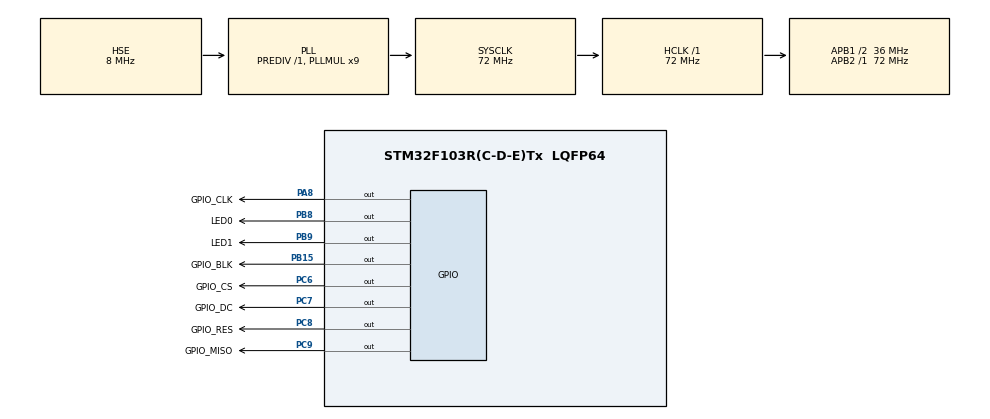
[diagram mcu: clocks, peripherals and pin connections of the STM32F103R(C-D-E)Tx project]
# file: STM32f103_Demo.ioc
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FREERTOS.Tasks01=startTask,24,128,StartDefaultTask,Default,NULL,Dynamic,NULL,NULL
FREERTOS.configUSE_TICK_HOOK=0
Mcu.Family=STM32F1
Mcu.Name=STM32F103R(C-D-E)Tx
Mcu.Package=LQFP64
NVIC.PriorityGroup=NVIC_PRIORITYGROUP_4
PA13.Mode=Serial_Wire
PA13.Signal=SYS_JTMS-SWDIO
PA14.Mode=Serial_Wire
PA14.Signal=SYS_JTCK-SWCLK
PA8.GPIO_Label=GPIO_CLK
PA8.GPIO_PuPd=GPIO_PULLUP
PA8.GPIO_Speed=GPIO_SPEED_FREQ_HIGH
PA8.PinState=GPIO_PIN_SET
PA8.Signal=GPIO_Output
PB15.GPIO_Label=GPIO_BLK
PB15.GPIO_PuPd=GPIO_PULLUP
PB15.GPIO_Speed=GPIO_SPEED_FREQ_HIGH
PB15.PinState=GPIO_PIN_SET
PB15.Signal=GPIO_Output
PB8.GPIO_Label=LED0
PB8.GPIO_PuPd=GPIO_PULLUP
PB8.GPIO_Speed=GPIO_SPEED_FREQ_HIGH
PB8.PinState=GPIO_PIN_SET
PB8.Signal=GPIO_Output
PB9.GPIO_Label=LED1
PB9.GPIO_PuPd=GPIO_PULLUP
PB9.GPIO_Speed=GPIO_SPEED_FREQ_HIGH
PB9.PinState=GPIO_PIN_SET
PB9.Signal=GPIO_Output
PC6.GPIO_Label=GPIO_CS
PC6.GPIO_PuPd=GPIO_PULLUP
PC6.GPIO_Speed=GPIO_SPEED_FREQ_HIGH
PC6.PinState=GPIO_PIN_SET
PC6.Signal=GPIO_Output
PC7.GPIO_Label=GPIO_DC
PC7.GPIO_PuPd=GPIO_PULLUP
PC7.GPIO_Speed=GPIO_SPEED_FREQ_HIGH
PC7.PinState=GPIO_PIN_SET
PC7.Signal=GPIO_Output
PC8.GPIO_Label=GPIO_RES
PC8.GPIO_PuPd=GPIO_PULLUP
PC8.GPIO_Speed=GPIO_SPEED_FREQ_HIGH
PC8.PinState=GPIO_PIN_SET
PC8.Signal=GPIO_Output
PC9.GPIO_Label=GPIO_MISO
PC9.GPIO_PuPd=GPIO_PULLUP
PC9.GPIO_Speed=GPIO_SPEED_FREQ_HIGH
PC9.PinState=GPIO_PIN_SET
PC9.Signal=GPIO_Output
PD0-OSC_IN.Mode=HSE-External-Oscillator
PD0-OSC_IN.Signal=RCC_OSC_IN
PD1-OSC_OUT.Mode=HSE-External-Oscillator
PD1-OSC_OUT.Signal=RCC_OSC_OUT
ProjectManager.HeapSize=0x1000
ProjectManager.StackSize=0x1000
ProjectManager.TargetToolchain=STM32CubeIDE
RCC.AHBFreq_Value=72000000
RCC.APB1CLKDivider=RCC_HCLK_DIV2
RCC.APB1Freq_Value=36000000
RCC.APB1TimFreq_Value=72000000
RCC.APB2Freq_Value=72000000
RCC.APB2TimFreq_Value=72000000
RCC.HCLKFreq_Value=72000000
RCC.PLLMUL=RCC_PLL_MUL9
RCC.PLLSourceVirtual=RCC_PLLSOURCE_HSE
RCC.SYSCLKFreq_VALUE=72000000
RCC.SYSCLKSource=RCC_SYSCLKSOURCE_PLLCLK
RCC.USBFreq_Value=72000000
VP_FREERTOS_VS_CMSIS_V2.Mode=CMSIS_V2
board=custom

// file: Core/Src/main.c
/* USER CODE BEGIN Header */
/**
  ******************************************************************************
  * @file           : main.c
  * @brief          : Main program body
  ******************************************************************************
  * @attention
  *
  * Copyright (c) 2022 STMicroelectronics.
  * All rights reserved.
  *
  * This software is licensed under terms that can be found in the LICENSE file
  * in the root directory of this software component.
  * If no LICENSE file comes with this software, it is provided AS-IS.
  *
  ******************************************************************************
  */
/* USER CODE END Header */
#include "main.h"
#include "cmsis_os.h"

/* USER CODE BEGIN Includes */
#include "lcd_init.h"
#include "lcd.h"

/* USER CODE END Includes */

/* USER CODE BEGIN PM */
extern const unsigned char gImage_leimu_1[100800];
extern const unsigned char gImage_leimu_2[115200];
extern const unsigned char gImage_leimu_3[115200];
/* USER CODE END PM */

 /* Definitions for startTask */
osThreadId_t startTaskHandle;
const osThreadAttr_t startTask_attributes = {
  .name = "startTask",
  .stack_size = 128 * 4,
  .priority = (osPriority_t) osPriorityNormal,
};

void SystemClock_Config(void);
static void MX_GPIO_Init(void);
void StartDefaultTask(void *argument);

int main(void)
{

  /* MCU Configuration--------------------------------------------------------*/

  /* Reset of all peripherals, Initializes the Flash interface and the Systick. */
  HAL_Init();

  /* Configure the system clock */
  SystemClock_Config();

  /* Initialize all configured peripherals */
  MX_GPIO_Init();

  /* Init scheduler */
  osKernelInitialize();

  /* Create the thread(s) */
  /* creation of startTask */
  startTaskHandle = osThreadNew(StartDefaultTask, NULL, &startTask_attributes);

  /* Start scheduler */
  osKernelStart();

  /* We should never get here as control is now taken by the scheduler */
  /* Infinite loop */
  while (1)
  {

  }
}

void SystemClock_Config(void)
{
  RCC_OscInitTypeDef RCC_OscInitStruct = {0};
  RCC_ClkInitTypeDef RCC_ClkInitStruct = {0};

  /** Initializes the RCC Oscillators according to the specified parameters
  * in the RCC_OscInitTypeDef structure.
  */
  RCC_OscInitStruct.OscillatorType = RCC_OSCILLATORTYPE_HSE;
  RCC_OscInitStruct.HSEState = RCC_HSE_ON;
  RCC_OscInitStruct.HSEPredivValue = RCC_HSE_PREDIV_DIV1;
  RCC_OscInitStruct.HSIState = RCC_HSI_ON;
  RCC_OscInitStruct.PLL.PLLState = RCC_PLL_ON;
  RCC_OscInitStruct.PLL.PLLSource = RCC_PLLSOURCE_HSE;
  RCC_OscInitStruct.PLL.PLLMUL = RCC_PLL_MUL9;
  if (HAL_RCC_OscConfig(&RCC_OscInitStruct) != HAL_OK)
  {
    Error_Handler();
  }

  /** Initializes the CPU, AHB and APB buses clocks
  */
  RCC_ClkInitStruct.ClockType = RCC_CLOCKTYPE_HCLK|RCC_CLOCKTYPE_SYSCLK
                              |RCC_CLOCKTYPE_PCLK1|RCC_CLOCKTYPE_PCLK2;
  RCC_ClkInitStruct.SYSCLKSource = RCC_SYSCLKSOURCE_PLLCLK;
  RCC_ClkInitStruct.AHBCLKDivider = RCC_SYSCLK_DIV1;
  RCC_ClkInitStruct.APB1CLKDivider = RCC_HCLK_DIV2;
  RCC_ClkInitStruct.APB2CLKDivider = RCC_HCLK_DIV1;

  if (HAL_RCC_ClockConfig(&RCC_ClkInitStruct, FLASH_LATENCY_2) != HAL_OK)
  {
    Error_Handler();
  }
}

static void MX_GPIO_Init(void)
{
  GPIO_InitTypeDef GPIO_InitStruct = {0};

  /* GPIO Ports Clock Enable */
  __HAL_RCC_GPIOD_CLK_ENABLE();
  __HAL_RCC_GPIOB_CLK_ENABLE();
  __HAL_RCC_GPIOC_CLK_ENABLE();
  __HAL_RCC_GPIOA_CLK_ENABLE();

  /*Configure GPIO pin Output Level */
  HAL_GPIO_WritePin(GPIOB, GPIO_BLK_Pin|LED0_Pin|LED1_Pin, GPIO_PIN_SET);

  /*Configure GPIO pin Output Level */
  HAL_GPIO_WritePin(GPIOC, GPIO_CS_Pin|GPIO_DC_Pin|GPIO_RES_Pin|GPIO_MISO_Pin, GPIO_PIN_SET);

  /*Configure GPIO pin Output Level */
  HAL_GPIO_WritePin(GPIO_CLK_GPIO_Port, GPIO_CLK_Pin, GPIO_PIN_SET);

  /*Configure GPIO pins : GPIO_BLK_Pin LED0_Pin LED1_Pin */
  GPIO_InitStruct.Pin = GPIO_BLK_Pin|LED0_Pin|LED1_Pin;
  GPIO_InitStruct.Mode = GPIO_MODE_OUTPUT_PP;
  GPIO_InitStruct.Pull = GPIO_PULLUP;
  GPIO_InitStruct.Speed = GPIO_SPEED_FREQ_HIGH;
  HAL_GPIO_Init(GPIOB, &GPIO_InitStruct);

  /*Configure GPIO pins : GPIO_CS_Pin GPIO_DC_Pin GPIO_RES_Pin GPIO_MISO_Pin */
  GPIO_InitStruct.Pin = GPIO_CS_Pin|GPIO_DC_Pin|GPIO_RES_Pin|GPIO_MISO_Pin;
  GPIO_InitStruct.Mode = GPIO_MODE_OUTPUT_PP;
  GPIO_InitStruct.Pull = GPIO_PULLUP;
  GPIO_InitStruct.Speed = GPIO_SPEED_FREQ_HIGH;
  HAL_GPIO_Init(GPIOC, &GPIO_InitStruct);

  /*Configure GPIO pin : GPIO_CLK_Pin */
  GPIO_InitStruct.Pin = GPIO_CLK_Pin;
  GPIO_InitStruct.Mode = GPIO_MODE_OUTPUT_PP;
  GPIO_InitStruct.Pull = GPIO_PULLUP;
  GPIO_InitStruct.Speed = GPIO_SPEED_FREQ_HIGH;
  HAL_GPIO_Init(GPIO_CLK_GPIO_Port, &GPIO_InitStruct);

}

void StartDefaultTask(void *argument)
{
  /* USER CODE BEGIN 5 */
  int pic_flag = 0, j = 0;

  LCD_Init();

  LCD_ShowString(80, 30, "HELLO WORLD", YELLOW, GRAY, 16, 0);
  /* Infinite loop */
  for(;;)
  {
      HAL_GPIO_WritePin(LED0_GPIO_Port, LED0_Pin, GPIO_PIN_RESET);
      osDelay(500);
      HAL_GPIO_WritePin(LED0_GPIO_Port, LED0_Pin, GPIO_PIN_SET);
      osDelay(500);
      pic_flag++;
      if(pic_flag >= 2){
          j++;
          switch (j%2) {
              case 0:
                  LCD_ShowPicture(0, 0, 240, 240, gImage_leimu_3);
                  break;
              case 1:
                  LCD_ShowPicture(0, 0, 240, 240, gImage_leimu_2);
                  break;
          }
          pic_flag = 0;
      }
  }
  /* USER CODE END 5 */
}

void Error_Handler(void)
{
  __disable_irq();
  while (1)
  {
  }
}
